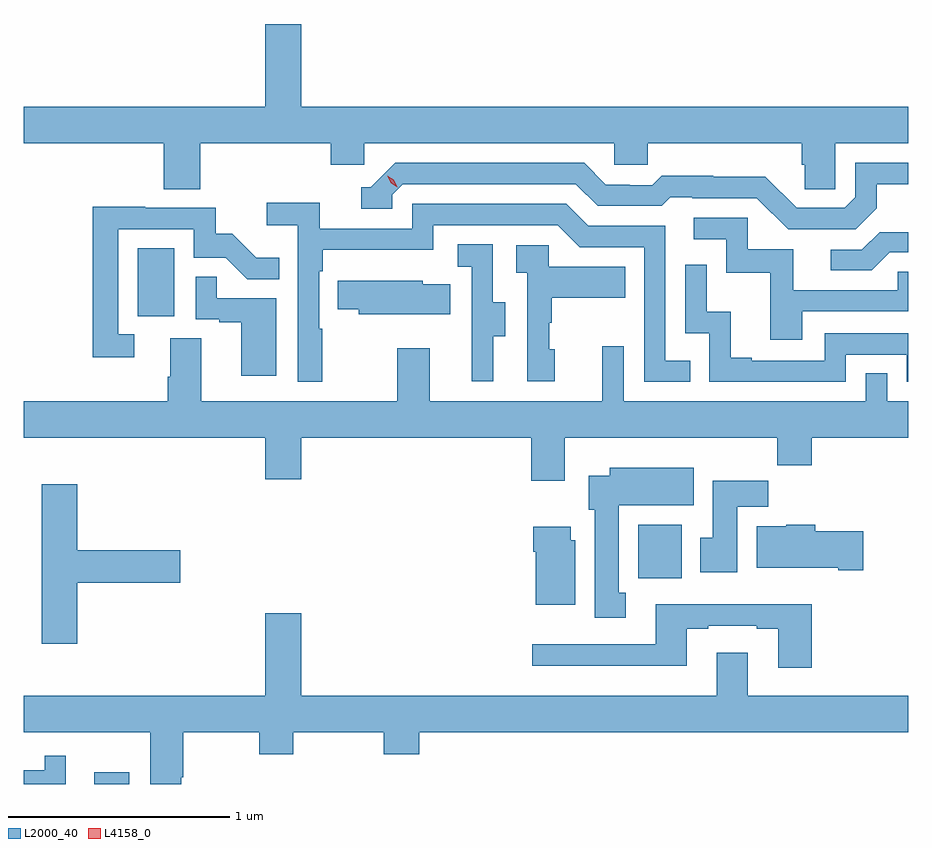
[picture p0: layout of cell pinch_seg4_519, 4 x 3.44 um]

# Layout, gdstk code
import gdstk
lib = gdstk.Library(unit=1e-6, precision=1e-09)
def R(c, l, rs):  # rectangles x0, y0, x1, y1
    for r in rs: c.add(gdstk.rectangle(r[:2], r[2:], *l))
def P(c, l, *ps):  # polygons
    for p in ps: c.add(gdstk.Polygon(p, *l))
L2000_40 = (2000, 40)
L4158_0 = (4158, 0)

pinch_seg4_519 = lib.new_cell('pinch_seg4_519')
R(pinch_seg4_519, L2000_40, [(979.418,764.618,979.576,764.671), (981.878,765.548,982.075,765.79), (979.616,766.734,979.78,767.041)])
P(pinch_seg4_519, L2000_40, [(979.898,767.516),(980.489,767.516),(980.489,767.418),(980.64,767.418),(980.64,767.516),(981.771,767.516),(981.771,767.418),(981.921,767.418),(981.921,767.516),(982.619,767.516),(982.619,767.418),(982.633,767.418),(982.633,767.308),(982.77,767.308),(982.77,767.516),(983.1,767.516),(983.1,767.68),(980.356,767.68),(980.356,768.055),(980.192,768.055),(980.192,767.68),(979.1,767.68),(979.1,767.516),(979.733,767.516),(979.733,767.308),(979.898,767.308)],
  [(982.957,767.221),(982.957,767.331),(983.1,767.331),(983.1,767.427),(982.86,767.427),(982.86,767.271),(982.812,767.223),(982.596,767.223),(982.454,767.365),(982.218,767.365),(982.218,767.368),(981.985,767.368),(981.943,767.325),(981.84,767.325),(981.84,767.328),(981.733,767.328),(981.634,767.427),(980.781,767.427),(980.67,767.316),(980.627,767.316),(980.627,767.22),(980.766,767.22),(980.766,767.283),(980.814,767.331),(981.597,767.331),(981.696,767.232),(981.985,767.232),(982.024,767.271),(982.123,767.271),(982.123,767.268),(982.416,767.268),(982.557,767.127),(982.863,767.127)],
  [(980.449,766.676),(980.436,766.676),(980.436,766.937),(980.453,766.937),(980.453,767.033),(980.952,767.033),(980.952,767.145),(981.516,767.145),(981.615,767.046),(981.906,767.046),(981.906,766.437),(982.115,766.437),(982.115,766.533),(982.002,766.533),(982.002,767.142),(981.652,767.142),(981.553,767.241),(980.856,767.241),(980.856,767.13),(980.438,767.13),(980.438,767.246),(980.199,767.246),(980.199,767.144),(980.34,767.144),(980.34,766.437),(980.449,766.437)],
  [(979.6,766.653),(979.527,766.653),(979.527,767.127),(979.869,767.127),(979.869,766.998),(980.013,766.998),(980.111,766.9),(980.255,766.9),(980.255,766.999),(980.151,766.999),(980.044,767.106),(979.968,767.106),(979.968,767.223),(979.649,767.223),(979.649,767.228),(979.411,767.228),(979.411,766.548),(979.6,766.548)],
  [(982.621,766.755),(983.1,766.755),(983.1,766.935),(983.053,766.935),(983.053,766.851),(982.579,766.851),(982.579,767.037),(982.374,767.037),(982.374,767.178),(982.131,767.178),(982.131,767.082),(982.278,767.082),(982.278,766.929),(982.477,766.929),(982.477,766.626),(982.621,766.626)],
  [(983.017,767.022),(983.1,767.022),(983.1,767.114),(982.97,767.114),(982.89,767.034),(982.749,767.034),(982.749,766.941),(982.936,766.941)],
  [(981.223,766.642),(981.277,766.642),(981.277,766.797),(981.222,766.797),(981.222,767.06),(981.063,767.06),(981.063,766.957),(981.126,766.957),(981.126,766.653),(981.125,766.653),(981.125,766.44),(981.223,766.44)],
  [(981.502,766.584),(981.477,766.584),(981.477,766.703),(981.487,766.703),(981.487,766.817),(981.821,766.817),(981.821,766.957),(981.474,766.957),(981.474,767.055),(981.327,767.055),(981.327,766.931),(981.378,766.931),(981.378,766.44),(981.502,766.44)],
  [(982.818,766.56),(983.094,766.56),(983.094,766.437),(983.1,766.437),(983.1,766.656),(982.722,766.656),(982.722,766.533),(982.393,766.533),(982.393,766.546),(982.298,766.546),(982.298,766.754),(982.188,766.754),(982.188,766.966),(982.092,766.966),(982.092,766.656),(982.2,766.656),(982.2,766.437),(982.818,766.437)],
  [(980.242,766.815),(979.973,766.815),(979.973,766.913),(979.878,766.913),(979.878,766.719),(979.985,766.719),(979.985,766.707),(980.084,766.707),(980.084,766.464),(980.242,766.464)],
  [(981.029,766.879),(980.904,766.879),(980.904,766.894),(980.632,766.894),(980.632,766.893),(980.521,766.893),(980.521,766.765),(980.615,766.765),(980.615,766.742),(981.029,766.742)],
  [(981.547,766.184),(982.507,766.184),(982.507,766.06),(982.664,766.06),(982.664,766.184),(983.1,766.184),(983.1,766.348),(983.004,766.348),(983.004,766.475),(982.908,766.475),(982.908,766.348),(981.813,766.348),(981.813,766.597),(981.716,766.597),(981.716,766.348),(980.935,766.348),(980.935,766.588),(980.788,766.588),(980.788,766.348),(979.903,766.348),(979.903,766.634),(979.763,766.634),(979.763,766.46),(979.751,766.46),(979.751,766.348),(979.1,766.348),(979.1,766.184),(980.192,766.184),(980.192,765.996),(980.356,765.996),(980.356,766.184),(981.395,766.184),(981.395,765.99),(981.547,765.99)],
  [(981.823,765.482),(981.79,765.482),(981.79,765.878),(982.129,765.878),(982.129,766.048),(981.749,766.048),(981.749,766.012),(981.656,766.012),(981.656,765.858),(981.683,765.858),(981.683,765.369),(981.823,765.369)],
  [(982.327,765.872),(982.466,765.872),(982.466,765.99),(982.217,765.99),(982.217,765.732),(982.16,765.732),(982.16,765.576),(982.327,765.576)],
  [(979.342,765.527),(979.807,765.527),(979.807,765.674),(979.342,765.674),(979.342,765.973),(979.181,765.973),(979.181,765.252),(979.342,765.252)],
  [(982.897,765.762),(982.679,765.762),(982.679,765.79),(982.548,765.79),(982.548,765.784),(982.415,765.784),(982.415,765.596),(982.784,765.596),(982.784,765.584),(982.897,765.584)],
  [(981.595,765.72),(981.574,765.72),(981.574,765.781),(981.404,765.781),(981.404,765.668),(981.416,765.668),(981.416,765.428),(981.595,765.428)],
  [(982.664,765.43),(981.959,765.43),(981.959,765.249),(981.399,765.249),(981.399,765.152),(982.099,765.152),(982.099,765.321),(982.195,765.321),(982.195,765.333),(982.415,765.333),(982.415,765.321),(982.511,765.321),(982.511,765.144),(982.664,765.144)],
  [(979.813,764.648),(979.821,764.648),(979.821,764.852),(980.164,764.852),(980.164,764.753),(980.319,764.753),(980.319,764.852),(980.728,764.852),(980.728,764.753),(980.888,764.753),(980.888,764.852),(983.1,764.852),(983.1,765.016),(982.375,765.016),(982.375,765.211),(982.235,765.211),(982.235,765.016),(980.356,765.016),(980.356,765.391),(980.192,765.391),(980.192,765.016),(979.1,765.016),(979.1,764.852),(979.673,764.852),(979.673,764.618),(979.813,764.618)],
  [(979.29,764.746),(979.194,764.746),(979.194,764.68),(979.1,764.68),(979.1,764.618),(979.29,764.618)])
P(pinch_seg4_519, L4158_0, [(980.79,767.317),(980.759,767.336),(980.743,767.369),(980.743,767.369),(980.743,767.369),(980.774,767.35),(980.79,767.317),(980.79,767.317)])

lib.write_gds('pinch_seg4_519.gds')
